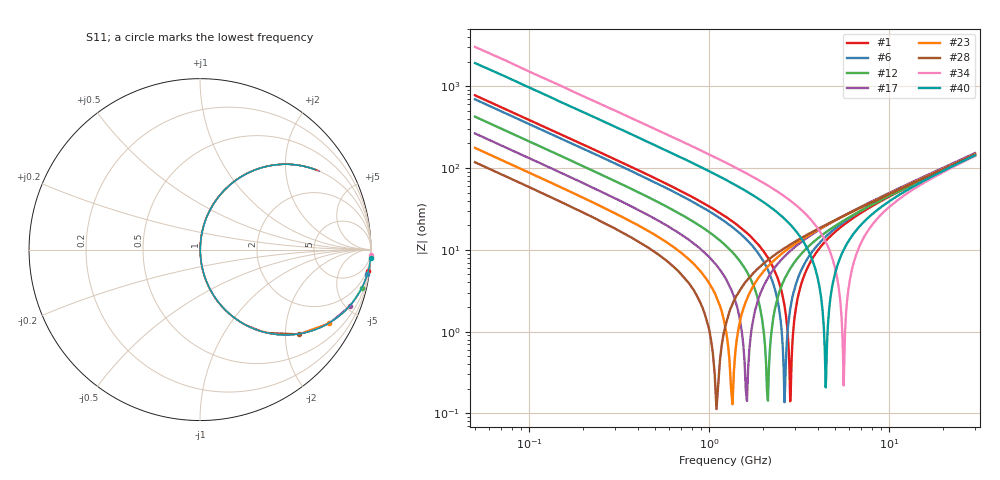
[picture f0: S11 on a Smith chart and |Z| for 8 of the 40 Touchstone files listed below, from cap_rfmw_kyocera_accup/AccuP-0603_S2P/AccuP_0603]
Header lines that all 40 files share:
!	AVX Thin Film Operation 	Date: April 2014
!	Description: Accu-P® Series, Thin Film  SMD RF Capacitor
# MHZ S MA R 50
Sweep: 50 MHz to 30 GHz
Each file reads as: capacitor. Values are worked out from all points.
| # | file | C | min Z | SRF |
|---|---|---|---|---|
| 1 | C0603SE4r1.s2p | 4.1 pF | 140 mohm | 2.827 GHz |
| 2 | C0603SE4r2.s2p | 4.2 pF | 126 mohm | 2.793 GHz |
| 3 | C0603SE4r3.s2p | 4.3 pF | 157 mohm | 2.761 GHz |
| 4 | C0603SE4r4.s2p | 4.4 pF | 135 mohm | 2.74 GHz |
| 5 | C0603SE4r5.s2p | 4.5 pF | 126 mohm | 2.723 GHz |
| 6 | C0603SE4r6.s2p | 4.6 pF | 137 mohm | 2.627 GHz |
| 7 | C0603SE4r7.s2p | 4.7 pF | 169 mohm | 2.634 GHz |
| 8 | C0603SE5r1.s2p | 5.1 pF | 133 mohm | 2.515 GHz |
| 9 | C0603SE5r6.s2p | 5.6 pF | 127 mohm | 2.4 GHz |
| 10 | C0603SE6r2.s2p | 6.2 pF | 131 mohm | 2.29 GHz |
| 11 | C0603SE6r8.s2p | 6.8 pF | 128 mohm | 2.202 GHz |
| 12 | C0603SE7r5.s2p | 7.5 pF | 143 mohm | 2.112 GHz |
| 13 | C0603SE8r2.s2p | 8.2 pF | 133 mohm | 2.004 GHz |
| 14 | C0603SE9r1.s2p | 9.1 pF | 124 mohm | 1.903 GHz |
| 15 | C0603SE100.s2p | 10 pF | 130 mohm | 1.815 GHz |
| 16 | C0603SE110.s2p | 11 pF | 143 mohm | 1.688 GHz |
| 17 | C0603SE120.s2p | 12 pF | 143 mohm | 1.613 GHz |
| 18 | C0603SE130.s2p | 13 pF | 137 mohm | 1.589 GHz |
| 19 | C0603SE140.s2p | 14 pF | 131 mohm | 1.54 GHz |
| 20 | C0603SE150.s2p | 15 pF | 135 mohm | 1.506 GHz |
| 21 | C0603SE160.s2p | 16 pF | 134 mohm | 1.44 GHz |
| 22 | C0603SE170.s2p | 17 pF | 108 mohm | 1.397 GHz |
| 23 | C0603SE180.s2p | 18 pF | 130 mohm | 1.341 GHz |
| 24 | C0603SE190.s2p | 19 pF | 127 mohm | 1.305 GHz |
| 25 | C0603SE200.s2p | 20 pF | 126 mohm | 1.229 GHz |
| 26 | C0603SE220.s2p | 22 pF | 112 mohm | 1.201 GHz |
| 27 | C0603SE240.s2p | 24 pF | 115 mohm | 1.169 GHz |
| 28 | C0603SE270.s2p | 27 pF | 113 mohm | 1.102 GHz |
| 29 | C0603SE300.s2p | 30 pF | 110 mohm | 1.045 GHz |
| 30 | C0603SE330.s2p | 33 pF | 143 mohm | 1.034 GHz |
| 31 | C0603SE360.s2p | 36 pF | 144 mohm | 1.01 GHz |
| 32 | C0603SE390.s2p | 39 pF | 133 mohm | 988.3 MHz |
| 33 | C0603SE470.s2p | 47 pF | 104 mohm | 900.3 MHz |
| 34 | C0603SEA05.s2p | 1.05 pF | 220 mohm | 5.59 GHz |
| 35 | C0603SEA15.s2p | 1.15 pF | 217 mohm | 5.341 GHz |
| 36 | C0603SEA25.s2p | 1.25 pF | 227 mohm | 5.074 GHz |
| 37 | C0603SEA35.s2p | 1.35 pF | 229 mohm | 4.883 GHz |
| 38 | C0603SEA45.s2p | 1.45 pF | 216 mohm | 4.711 GHz |
| 39 | C0603SEA55.s2p | 1.55 pF | 207 mohm | 4.589 GHz |
| 40 | C0603SEA65.s2p | 1.65 pF | 208 mohm | 4.448 GHz |
